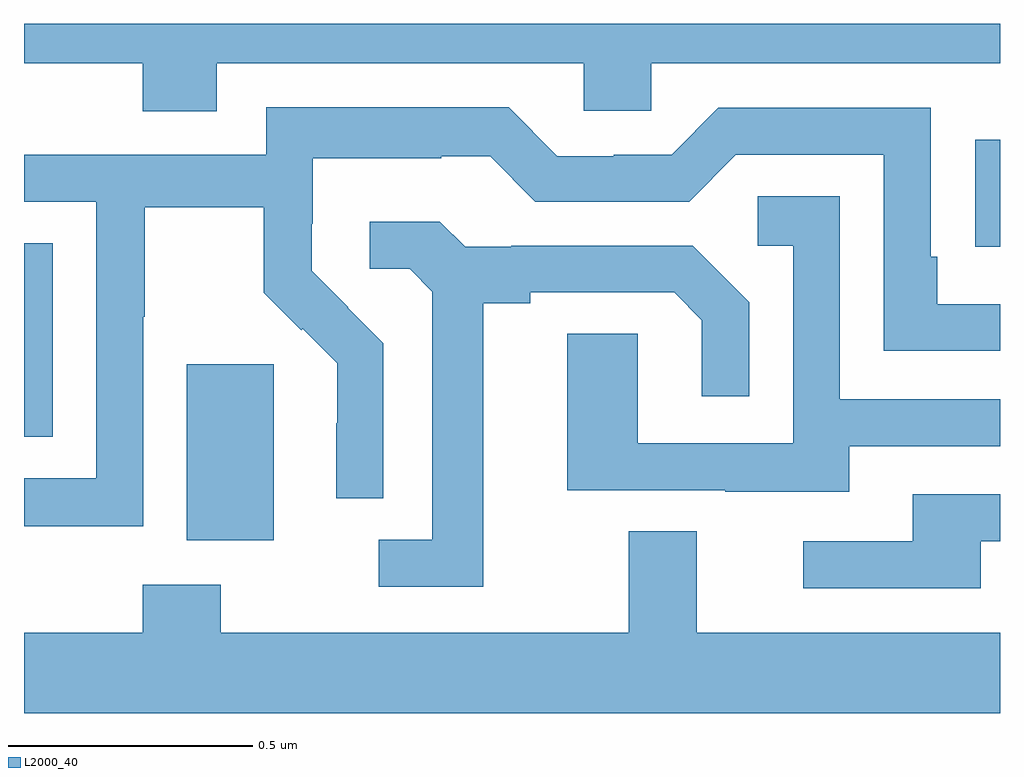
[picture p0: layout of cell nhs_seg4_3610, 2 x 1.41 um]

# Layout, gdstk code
import gdstk
lib = gdstk.Library(unit=1e-6, precision=1e-09)
def R(c, l, rs):  # rectangles x0, y0, x1, y1
    for r in rs: c.add(gdstk.rectangle(r[:2], r[2:], *l))
def P(c, l, *ps):  # polygons
    for p in ps: c.add(gdstk.Polygon(p, *l))
L2000_40 = (2000, 40)

nhs_seg4_3610 = lib.new_cell('nhs_seg4_3610')
R(nhs_seg4_3610, L2000_40, [(155.333,795.842,155.512,796.203), (155,796.054,155.059,796.451), (156.949,796.444,157,796.663)])
P(nhs_seg4_3610, L2000_40, [(155.395,796.82),(156.147,796.82),(156.147,796.722),(156.285,796.722),(156.285,796.82),(157,796.82),(157,796.9),(155,796.9),(155,796.82),(155.243,796.82),(155.243,796.721),(155.395,796.721)],
  [(155.244,796.3),(155.247,796.3),(155.247,796.524),(155.491,796.524),(155.491,796.349),(155.568,796.272),(155.571,796.275),(155.642,796.205),(155.642,796.082),(155.64,796.082),(155.64,795.928),(155.736,795.928),(155.736,796.246),(155.663,796.319),(155.664,796.32),(155.59,796.394),(155.59,796.491),(155.592,796.491),(155.592,796.625),(155.855,796.625),(155.855,796.629),(155.955,796.629),(156.048,796.536),(156.363,796.536),(156.459,796.632),(156.762,796.632),(156.762,796.23),(157,796.23),(157,796.326),(156.871,796.326),(156.871,796.423),(156.858,796.423),(156.858,796.728),(156.423,796.728),(156.327,796.632),(156.209,796.632),(156.209,796.629),(156.093,796.629),(155.993,796.729),(155.496,796.729),(155.496,796.632),(155,796.632),(155,796.536),(155.148,796.536),(155.148,795.969),(155,795.969),(155,795.871),(155.244,795.871)],
  [(156.691,796.035),(157,796.035),(157,796.131),(156.672,796.131),(156.672,796.547),(156.504,796.547),(156.504,796.446),(156.576,796.446),(156.576,796.041),(156.258,796.041),(156.258,796.265),(156.113,796.265),(156.113,795.945),(156.437,795.945),(156.437,795.941),(156.691,795.941)],
  [(155.941,796.328),(156.037,796.328),(156.037,796.35),(156.332,796.35),(156.389,796.293),(156.389,796.137),(156.486,796.137),(156.486,796.33),(156.37,796.446),(155.998,796.446),(155.998,796.443),(155.904,796.443),(155.852,796.495),(155.709,796.495),(155.709,796.398),(155.79,796.398),(155.837,796.351),(155.837,795.843),(155.727,795.843),(155.727,795.747),(155.941,795.747)],
  [(156.961,795.84),(157,795.84),(157,795.936),(156.821,795.936),(156.821,795.84),(156.597,795.84),(156.597,795.744),(156.961,795.744)],
  [(157,795.652),(156.379,795.652),(156.379,795.86),(156.239,795.86),(156.239,795.652),(155.403,795.652),(155.403,795.751),(155.243,795.751),(155.243,795.652),(155,795.652),(155,795.488),(157,795.488)])

lib.write_gds('nhs_seg4_3610.gds')
